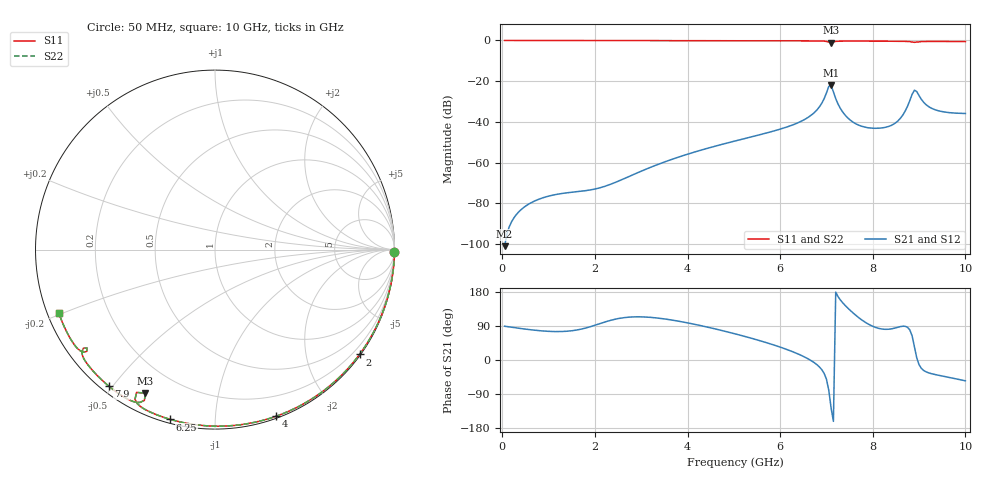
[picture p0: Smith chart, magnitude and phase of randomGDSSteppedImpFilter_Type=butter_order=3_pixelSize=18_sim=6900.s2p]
! freq	dB(S11)	phase(S11)	dB(S12)	phase(S12)
!  dB(S21)	phase(S21)	dB(S22)	phase(S22)
!S-par simulation data
#  GHz  S  DB  R 50
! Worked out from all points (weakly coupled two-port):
!   200 points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, 50 MHz to 10 GHz, reference 50 ohm
!   highest |S21| = -22.06 dB at 7.1 GHz (marker M1); lowest = -101.1 dB at 50 MHz (marker M2)
!   lowest |S11| = -1.0 dB at 7.1 GHz (marker M3), VSWR 16.97, Z = 4.1 - j31.2 ohm
!   |S11| at or under -10 dB: nowhere
!   |S22| runs from -1.0 to 0.0 dB; largest |S21 - S12| = 0
!   S11 on the Smith chart (normalised r, x): 50 MHz: open; 2 GHz: 0.03, -3.08; 4 GHz: 0.02, -1.44; 6.25 GHz: 0.02, -0.77; 7.9 GHz: 0.02, -0.49; 10 GHz: 0.03, -0.19
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0.05  -0.00 -0.9  -101.09 89.1  -101.09 89.1  -0.00 -0.9
0.6  -0.01 -11.0  -80.02 80.0  -80.02 80.0  -0.01 -11.0
1.05  -0.02 -19.1  -76.21 75.3  -76.21 75.3  -0.02 -19.1
1.75  -0.04 -31.6  -73.96 82.8  -73.96 82.8  -0.04 -31.6
2  -0.05 -36.0  -73.01 91.7  -73.01 91.7  -0.05 -36.0
3.4  -0.08 -59.9  -60.58 110.0  -60.58 110.0  -0.08 -59.9
4  -0.10 -69.7  -55.89 98.0  -55.89 98.0  -0.10 -69.7
5.05  -0.13 -86.4  -49.26 68.3  -49.26 68.3  -0.13 -86.4
6.25  -0.19 -104.8  -41.69 22.9  -41.69 22.9  -0.19 -104.8
6.7  -0.23 -111.8  -36.19 -4.0  -36.19 -4.0  -0.23 -111.8
6.9  -0.29 -115.5  -30.82 -25.7  -30.82 -25.7  -0.29 -115.6
7.05  -0.84 -118.8  -22.60 -79.8  -22.60 -79.8  -0.84 -118.8
7.1  -1.02 -115.9  -22.06 -126.6  -22.06 -126.6  -1.03 -115.9
7.25  -0.38 -117.3  -31.25 167.3  -31.25 167.3  -0.38 -117.3
7.4  -0.31 -120.2  -36.61 144.4  -36.61 144.4  -0.31 -120.2
7.65  -0.31 -124.2  -41.14 116.3  -41.14 116.3  -0.31 -124.2
7.9  -0.32 -128.0  -42.91 94.9  -42.91 94.9  -0.32 -128.0
8.35  -0.36 -134.8  -42.19 81.3  -42.19 81.3  -0.36 -134.8
8.65  -0.42 -139.6  -36.60 89.2  -36.60 89.2  -0.42 -139.6
8.9  -0.92 -142.5  -24.44 35.1  -24.44 35.1  -0.92 -142.5
9.3  -0.48 -147.3  -33.65 -37.1  -33.65 -37.1  -0.48 -147.3
10  -0.55 -158.0  -35.88 -54.9  -35.88 -54.9  -0.55 -158.0
